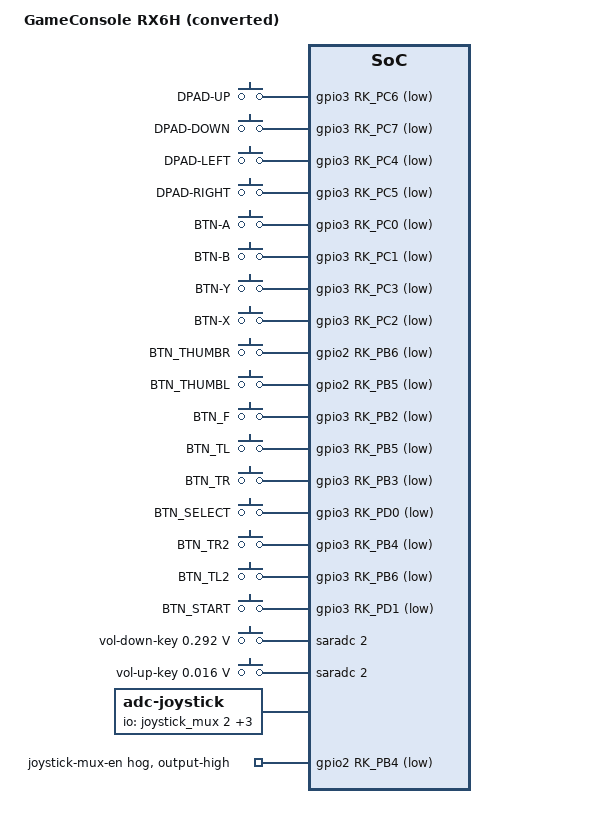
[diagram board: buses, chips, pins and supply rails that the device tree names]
// SPDX-License-Identifier: (GPL-2.0+ OR MIT)
/*
 * GameConsole RX6H, converted from a vendor RK3326 device tree by
 * `r36os dtb import` (boot-dtb-select D12). Do not edit: import again.
 * Source: arkos4clone/boot/dArkOS/consoles/rx6h/5.10/rk3326-rx6h-linux.dtb
 * SHA-256: f9cdfc7bcd99aef60346eb5364d8ee40e59ea6f3ef7ecbf0f93b994bbf488408
 * Note: sticks: axes from the ROCKNIX joypad mapping, not measured
 * Note: speaker gain: source spk-volume 3 ignored, the native safe value is used
 */

#include "rk3326-r36s-v5.dts"

/ {
	model = "GameConsole RX6H (converted)";

	lume-select {
		lume,id = "arkos4clone-rx6h-5.10";
		lume,priority = <0>;
		/delete-property/ lume,default;
		/delete-property/ lume,panel-id;
	};

	/delete-node/ gpio-keys;
	/delete-node/ volume-keys;

	gpio-keys {
		compatible = "gpio-keys";
		pinctrl-names = "default";
		pinctrl-0 = <&btn_pins>;

		button-dpad-up {
			gpios = <&gpio3 RK_PC6 GPIO_ACTIVE_LOW>;
			label = "DPAD-UP";
			linux,code = <0x220>;
		};

		button-dpad-down {
			gpios = <&gpio3 RK_PC7 GPIO_ACTIVE_LOW>;
			label = "DPAD-DOWN";
			linux,code = <0x221>;
		};

		button-dpad-left {
			gpios = <&gpio3 RK_PC4 GPIO_ACTIVE_LOW>;
			label = "DPAD-LEFT";
			linux,code = <0x222>;
		};

		button-dpad-right {
			gpios = <&gpio3 RK_PC5 GPIO_ACTIVE_LOW>;
			label = "DPAD-RIGHT";
			linux,code = <0x223>;
		};

		button-btn-a {
			gpios = <&gpio3 RK_PC0 GPIO_ACTIVE_LOW>;
			label = "BTN-A";
			linux,code = <0x131>;
		};

		button-btn-b {
			gpios = <&gpio3 RK_PC1 GPIO_ACTIVE_LOW>;
			label = "BTN-B";
			linux,code = <0x130>;
		};

		button-btn-y {
			gpios = <&gpio3 RK_PC3 GPIO_ACTIVE_LOW>;
			label = "BTN-Y";
			linux,code = <0x134>;
		};

		button-btn-x {
			gpios = <&gpio3 RK_PC2 GPIO_ACTIVE_LOW>;
			label = "BTN-X";
			linux,code = <0x133>;
		};

		button-btn-thumbr {
			gpios = <&gpio2 RK_PB6 GPIO_ACTIVE_LOW>;
			label = "BTN_THUMBR";
			linux,code = <0x2c3>;
		};

		button-btn-thumbl {
			gpios = <&gpio2 RK_PB5 GPIO_ACTIVE_LOW>;
			label = "BTN_THUMBL";
			linux,code = <0x2c2>;
		};

		button-btn-f {
			gpios = <&gpio3 RK_PB2 GPIO_ACTIVE_LOW>;
			label = "BTN_F";
			linux,code = <0x2c4>;
		};

		button-btn-tl {
			gpios = <&gpio3 RK_PB5 GPIO_ACTIVE_LOW>;
			label = "BTN_TL";
			linux,code = <0x136>;
		};

		button-btn-tr {
			gpios = <&gpio3 RK_PB3 GPIO_ACTIVE_LOW>;
			label = "BTN_TR";
			linux,code = <0x137>;
		};

		button-btn-select {
			gpios = <&gpio3 RK_PD0 GPIO_ACTIVE_LOW>;
			label = "BTN_SELECT";
			linux,code = <0x2c0>;
		};

		button-btn-tr2 {
			gpios = <&gpio3 RK_PB4 GPIO_ACTIVE_LOW>;
			label = "BTN_TR2";
			linux,code = <0x139>;
		};

		button-btn-tl2 {
			gpios = <&gpio3 RK_PB6 GPIO_ACTIVE_LOW>;
			label = "BTN_TL2";
			linux,code = <0x138>;
		};

		button-btn-start {
			gpios = <&gpio3 RK_PD1 GPIO_ACTIVE_LOW>;
			label = "BTN_START";
			linux,code = <0x2c1>;
		};
	};

	adc-keys {
		compatible = "adc-keys";
		io-channels = <&saradc 2>;
		io-channel-names = "buttons";
		keyup-threshold-microvolt = <1800000>;
		poll-interval = <100>;

		button-vol-down-key {
			label = "vol-down-key";
			linux,code = <0x72>;
			press-threshold-microvolt = <291797>;
		};

		button-vol-up-key {
			label = "vol-up-key";
			linux,code = <0x73>;
			press-threshold-microvolt = <15820>;
		};
	};

	/delete-node/ adc-joystick;

	adc-joystick {
		compatible = "adc-joystick";
		io-channels = <&joystick_mux 2>,
			      <&joystick_mux 0>,
			      <&joystick_mux 1>,
			      <&joystick_mux 3>;
		poll-interval = <10>;
		#address-cells = <1>;
		#size-cells = <0>;

		axis@0 {
			reg = <0>;
			abs-flat = <32>;
			abs-fuzz = <32>;
			abs-range = <1023 0>;
			linux,code = <ABS_RY>;
		};

		axis@1 {
			reg = <1>;
			abs-flat = <32>;
			abs-fuzz = <32>;
			abs-range = <1023 0>;
			linux,code = <ABS_RX>;
		};

		axis@2 {
			reg = <2>;
			abs-flat = <32>;
			abs-fuzz = <32>;
			abs-range = <0 1023>;
			linux,code = <ABS_Y>;
		};

		axis@3 {
			reg = <3>;
			abs-flat = <32>;
			abs-fuzz = <32>;
			abs-range = <0 1023>;
			linux,code = <ABS_X>;
		};
	};

	mux-controller {
		mux-gpios = <&gpio2 RK_PC0 GPIO_ACTIVE_LOW>,
			    <&gpio2 RK_PB7 GPIO_ACTIVE_LOW>;
	};

	adc-mux {
		io-channels = <&saradc 1>;
	};

	/delete-node/ gpio-leds;

	rk817-sound {
		simple-audio-card,hp-det-gpios = <&gpio2 RK_PC6 GPIO_ACTIVE_LOW>;
	};
};

&internal_display {
	compatible = "rocknix,generic-dsi";
	/delete-property/ vcc-supply;
	vdd-supply = <&vcc_lcd>;
	reset-gpios = <&gpio3 RK_PB7 GPIO_ACTIVE_LOW>;
	enable-gpios = <&gpio0 RK_PB5 GPIO_ACTIVE_HIGH>;
	panel_description =
		"G size=153,85 delays=20,20,20,120,20 format=rgb888 lanes=4 flags=0xe03",
		"M clock=30000 horizontal=640,46,2,44 vertical=480,16,2,14 default=1",
		"M clock=30000 horizontal=640,168,8,161 vertical=480,16,2,14",
		"I seq=ff30",
		"I seq=ff52",
		"I seq=ff01",
		"I seq=e300",
		"I seq=2510",
		"I seq=286f",
		"I seq=2901",
		"I seq=2adf",
		"I seq=2c22",
		"I seq=c30f",
		"I seq=379c",
		"I seq=38a7",
		"I seq=3941",
		"I seq=8020",
		"I seq=9167",
		"I seq=9267",
		"I seq=a055",
		"I seq=a150",
		"I seq=a358",
		"I seq=a49c",
		"I seq=a702",
		"I seq=a801",
		"I seq=a921",
		"I seq=aafc",
		"I seq=ab28",
		"I seq=ac06",
		"I seq=ad06",
		"I seq=ae06",
		"I seq=af03",
		"I seq=b008",
		"I seq=b126",
		"I seq=b228",
		"I seq=b328",
		"I seq=b403",
		"I seq=b508",
		"I seq=b626",
		"I seq=b708",
		"I seq=b826",
		"I seq=c000",
		"I seq=c100",
		"I seq=c200",
		"I seq=ff30 # 2",
		"I seq=ff52 # 2",
		"I seq=ff02",
		"I seq=b002",
		"I seq=d002",
		"I seq=b10f",
		"I seq=d110",
		"I seq=b211",
		"I seq=d212",
		"I seq=b332",
		"I seq=d333",
		"I seq=b436",
		"I seq=d436",
		"I seq=b53c",
		"I seq=d53c",
		"I seq=b620",
		"I seq=d620",
		"I seq=b73e",
		"I seq=d73e",
		"I seq=b80e",
		"I seq=d80d",
		"I seq=b905",
		"I seq=d905",
		"I seq=ba11",
		"I seq=da12",
		"I seq=bb11",
		"I seq=db11",
		"I seq=bc13",
		"I seq=dc14",
		"I seq=bd14",
		"I seq=dd14",
		"I seq=be16",
		"I seq=de18",
		"I seq=bf0e",
		"I seq=df0f",
		"I seq=c017",
		"I seq=e017",
		"I seq=c107",
		"I seq=e108",
		"I seq=ff30 # 3",
		"I seq=ff52 # 3",
		"I seq=ff03",
		"I seq=088a",
		"I seq=098b",
		"I seq=3000",
		"I seq=3100",
		"I seq=3200",
		"I seq=3300",
		"I seq=3461",
		"I seq=35d4",
		"I seq=3624",
		"I seq=3703",
		"I seq=4086",
		"I seq=4187",
		"I seq=4284",
		"I seq=4385",
		"I seq=4411",
		"I seq=45de",
		"I seq=46dd",
		"I seq=4711",
		"I seq=48e0",
		"I seq=49df",
		"I seq=5082",
		"I seq=5183",
		"I seq=5280",
		"I seq=5381",
		"I seq=5411",
		"I seq=55e2",
		"I seq=56e1",
		"I seq=5711",
		"I seq=58e4",
		"I seq=59e3",
		"I seq=820f",
		"I seq=830f",
		"I seq=8400",
		"I seq=850f",
		"I seq=860f",
		"I seq=870e",
		"I seq=880e",
		"I seq=8906",
		"I seq=8a06",
		"I seq=8b07",
		"I seq=8c07",
		"I seq=8d04",
		"I seq=8e04",
		"I seq=8f05",
		"I seq=9005",
		"I seq=980f",
		"I seq=990f",
		"I seq=9a00",
		"I seq=9b0f",
		"I seq=9c0f",
		"I seq=9d0e",
		"I seq=9e0e",
		"I seq=9f06",
		"I seq=a006",
		"I seq=a107",
		"I seq=a207",
		"I seq=a304",
		"I seq=a404",
		"I seq=a505",
		"I seq=a605",
		"I seq=e002",
		"I seq=e152",
		"I seq=ff30 # 4",
		"I seq=ff52 # 4",
		"I seq=ff00",
		"I seq=3602",
		"I seq=11 wait=c8",
		"I seq=29 wait=64";
};

&dsi {
	rockchip,lane-rate = <200>;
};

&backlight {
	pwms = <&pwm1 0 25000 0>;
	/delete-property/ num-interpolated-steps;
	brightness-levels = <0 1 2 3 4 5 6 7 8 9 10 11 12 13 14 15 16 17 18 19 20 21 22 23 24 25 26 27 28 29 30 31 32 33 34 35 36 37 38 39 40 41 42 43 44 45 46 47 48 49 50 51 52 53 54 55 56 57 58 59 60 61 62 63 64 65 66 67 68 69 70 71 72 73 74 75 76 77 78 79 80 81 82 83 84 85 86 87 88 89 90 91 92 93 94 95 96 97 98 99 100 101 102 103 104 105 106 107 108 109 110 111 112 113 114 115 116 117 118 119 120 121 122 123 124 125 126 127 128 129 130 131 132 133 134 135 136 137 138 139 140 141 142 143 144 145 146 147 148 149 150 151 152 153 154 155 156 157 158 159 160 161 162 163 164 165 166 167 168 169 170 171 172 173 174 175 176 177 178 179 180 181 182 183 184 185 186 187 188 189 190 191 192 193 194 195 196 197 198 199 200 201 202 203 204 205 206 207 208 209 210 211 212 213 214 215 216 217 218 219 220 221 222 223 224 225 226 227 228 229 230 231 232 233 234 235 236 237 238 239 240 241 242 243 244 245 246 247 248 249 250 251 252 253 254 255>;
	default-brightness-level = <200>;
};

&battery {
	charge-full-design-microamp-hours = <2832000>;
	voltage-max-design-microvolt = <4046000>;
	voltage-min-design-microvolt = <3300000>;
	ocv-capacity-table-0 = <4046000 100>,
				<4001000 95>,
				<3967000 90>,
				<3940000 85>,
				<3910000 80>,
				<3870000 75>,
				<3830000 70>,
				<3790000 65>,
				<3750000 60>,
				<3720000 55>,
				<3690000 50>,
				<3650000 45>,
				<3610000 40>,
				<3570000 35>,
				<3540000 30>,
				<3500000 25>,
				<3460000 20>,
				<3420000 15>,
				<3380000 10>,
				<3340000 5>,
				<3300000 0>;
};

&spk_amp {
	enable-gpios = <&gpio3 RK_PA7 GPIO_ACTIVE_HIGH>;
};

&rk817 {
	interrupt-parent = <&gpio0>;
	interrupts = <RK_PB2 IRQ_TYPE_LEVEL_LOW>;
};

&gpio0 {
	/delete-node/ joystick-mux-en-hog;
};

&gpio1 {
	/delete-node/ lcd-enable-hog;
};

&gpio2 {
	joystick-mux-en-hog {
		gpio-hog;
		gpios = <RK_PB4 GPIO_ACTIVE_LOW>;
		output-high;
		line-name = "joystick-mux-en";
	};
};

&gpio3 {
	/delete-node/ lcd-stbyb-hog;
};

&btn_pins {
	rockchip,pins =
		<3 RK_PC6 RK_FUNC_GPIO &pcfg_pull_up>,
		<3 RK_PC7 RK_FUNC_GPIO &pcfg_pull_up>,
		<3 RK_PC4 RK_FUNC_GPIO &pcfg_pull_up>,
		<3 RK_PC5 RK_FUNC_GPIO &pcfg_pull_up>,
		<3 RK_PC0 RK_FUNC_GPIO &pcfg_pull_up>,
		<3 RK_PC1 RK_FUNC_GPIO &pcfg_pull_up>,
		<3 RK_PC3 RK_FUNC_GPIO &pcfg_pull_up>,
		<3 RK_PC2 RK_FUNC_GPIO &pcfg_pull_up>,
		<2 RK_PB6 RK_FUNC_GPIO &pcfg_pull_up>,
		<2 RK_PB5 RK_FUNC_GPIO &pcfg_pull_up>,
		<3 RK_PB2 RK_FUNC_GPIO &pcfg_pull_up>,
		<3 RK_PB5 RK_FUNC_GPIO &pcfg_pull_up>,
		<3 RK_PB3 RK_FUNC_GPIO &pcfg_pull_up>,
		<3 RK_PD0 RK_FUNC_GPIO &pcfg_pull_up>,
		<3 RK_PB4 RK_FUNC_GPIO &pcfg_pull_up>,
		<3 RK_PB6 RK_FUNC_GPIO &pcfg_pull_up>,
		<3 RK_PD1 RK_FUNC_GPIO &pcfg_pull_up>;
};

&hp_det {
	rockchip,pins = <2 RK_PC6 RK_FUNC_GPIO &pcfg_pull_none>;
};

&spk_amp_enable_h {
	rockchip,pins = <3 RK_PA7 RK_FUNC_GPIO &pcfg_pull_none>;
};

&pmic_int {
	rockchip,pins = <0 RK_PB2 RK_FUNC_GPIO &pcfg_pull_up>;
};
